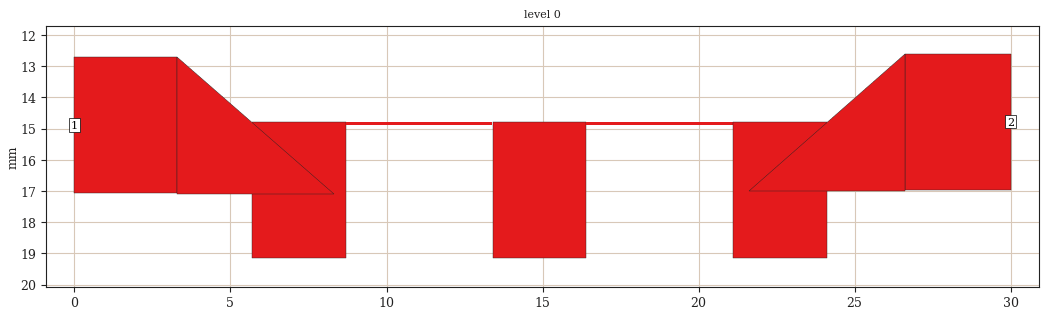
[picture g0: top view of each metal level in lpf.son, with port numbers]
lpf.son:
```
FTYP SONPROJ 13 ! Sonnet Project File
VER 15.53.lite
HEADER
LIC SL287748.103150 001c42b2201b ANTHONYBUGA3AE4 anthonybugatto
DAT 04/27/2018 13:53:09
BUILT_BY_CREATED xgeom 15.53-Lite 04/20/2018 20:05:53
BUILT_BY_SAVED xgeom 15.53-Lite
MDATE 04/27/2018 13:53:09
HDATE 04/27/2018 13:53:09
END HEADER
DIM
FREQ GHZ
IND NH
LNG MM
ANG DEG
CON /OH
CAP PF
RES OH
END DIM
FREQ
ABS 6.0 10.0 
END FREQ
CONTROL
ABS
OPTIONS  -d 
SPEED 0
CACHE_ABS 1
TARG_ABS 300
Q_ACC N
END CONTROL
GEO
TMET "Lossless" 0 SUP 0 0 0 0
BMET "Lossless" 0 SUP 0 0 0 0
BOX 1 30 30 300 600 20 0
      1000 1 1 0 0 0 0 "Unnamed"
      1.5 2.2 1 0.0009 0 0 0 "Rogers RT5880"
DIM STD YDIR 1
POS -1.041361107 2.179686677
NOM 4.359375
REF1 POLY 9 1
0
REF2 POLY 9 1
3
END
LORGN 0 30 U 
POR1 STD
POLY 9 1
3
1 50 0 0 0 -6.777014972e-007 14.8796875 
POR1 STD
POLY 17 1
3
2 50 0 0 0 30.00000066 14.77969 
NUM 9
0 5 -1 N 9 1 1 100 100 0 0 0 Y
-6.777014972e-007 12.7
3.3 12.7
3.3 17.059375
-6.777014972e-007 17.059375
-6.777014972e-007 12.7
END
0 5 -1 N 11 1 1 100 100 0 0 0 Y
5.7 14.8
8.7 14.8
8.7 19.159375
5.7 19.159375
5.7 14.8
END
0 4 -1 N 12 1 1 100 100 0 0 0 Y
3.3 12.7
3.3 17.09999992
8.313953402 17.09999992
3.3 12.7
END
0 5 -1 N 13 1 1 100 100 0 0 0 Y
8.700000424 14.8
13.38750042 14.8
13.38750042 14.89375
8.700000424 14.89375
8.700000424 14.8
END
0 5 -1 N 14 1 1 100 100 0 0 0 Y
13.4 14.8
16.4 14.8
16.4 19.159375
13.4 19.159375
13.4 14.8
END
0 5 -1 N 15 1 1 100 100 0 0 0 Y
16.40000042 14.8
21.0999991 14.8
21.0999991 14.89375
16.40000042 14.89375
16.40000042 14.8
END
0 5 -1 N 16 1 1 100 100 0 0 0 Y
21.1 14.8
24.1 14.8
24.1 19.159375
21.1 19.159375
21.1 14.8
END
0 5 -1 N 17 1 1 100 100 0 0 0 Y
30.00000066 12.6
26.61396 12.6
26.61396 16.95938
30.00000066 16.95938
30.00000066 12.6
END
0 4 -1 N 19 1 1 100 100 0 0 0 Y
26.61396 12.6
26.61396 17
21.6 17
26.61396 12.6
END
END GEO
OPT
MAX 100
VARS
END
END OPT
VARSWP
END VARSWP
QSG
IMPORT NO
EXTRA_METAL NO
UNITS YES
ALIGN NO
REF NO
VIEW_RES YES
METALS NO
USED NO
END QSG
```
